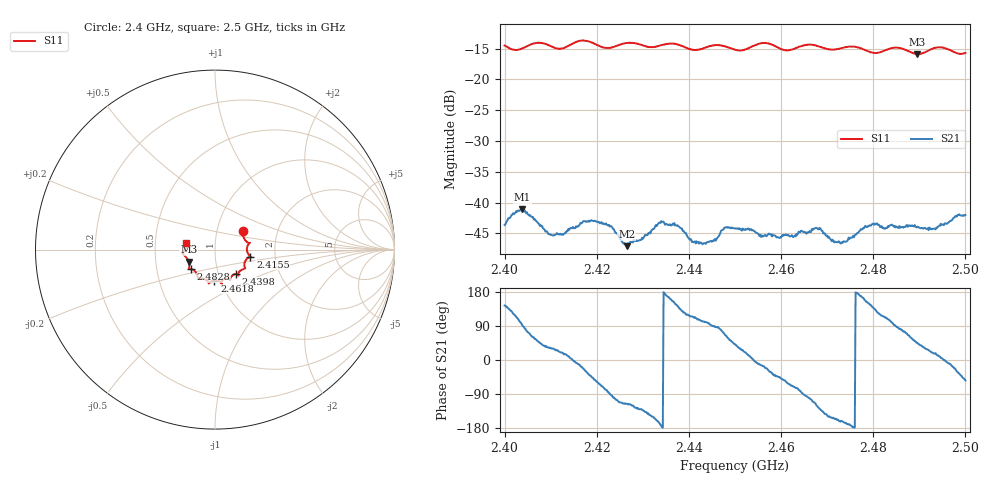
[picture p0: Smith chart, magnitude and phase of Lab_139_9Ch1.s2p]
# Hz S RI R 50
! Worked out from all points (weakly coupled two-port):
!   601 points, 2.4 GHz to 2.5 GHz, reference 50 ohm
!   highest |S21| = -41.08 dB at 2.4038 GHz (marker M1); lowest = -47.1 dB at 2.4265 GHz (marker M2)
!   lowest |S11| = -15.9 dB at 2.4895 GHz (marker M3), VSWR 1.38, Z = 37 - j5.04 ohm
!   |S11| at or under -10 dB: start of sweep to end of sweep
!   S12 and S22 are empty: the file has one direction only
!   S11 on the Smith chart (normalised r, x): 2.4 GHz: 1.33, +0.29; 2.4155 GHz: 1.49, -0.12; 2.4398 GHz: 1.21, -0.34; 2.4618 GHz: 0.94, -0.33; 2.4828 GHz: 0.75, -0.17; 2.5 GHz: 0.72, +0.06
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2.4e9  0.1557 0.1061  -0.00532 0.0039  0 0  0 0
2.403833e9  0.1725 0.0476  -0.000309 0.00882  0 0  0 0
2.41e9  0.1845 0.0271  0.00467 0.00294  0 0  0 0
2.4155e9  0.1977 -0.0389  0.00637 -0.000853  0 0  0 0
2.416667e9  0.2025 -0.0423  0.00645 -0.00213  0 0  0 0
2.4225e9  0.1655 -0.0702  0.000614 -0.00648  0 0  0 0
2.4265e9  0.1686 -0.1032  -0.0019 -0.00401  0 0  0 0
2.433333e9  0.1295 -0.1344  -0.00645 -0.00209  0 0  0 0
2.437333e9  0.1307 -0.1427  -0.00536 0.00371  0 0  0 0
2.439833e9  0.115 -0.136  -0.00252 0.00455  0 0  0 0
2.443333e9  0.0869 -0.1576  -0.00093 0.0046  0 0  0 0
2.45e9  0.065 -0.1617  0.00461 0.00411  0 0  0 0
2.456333e9  0.0392 -0.1939  0.00515 -0.0016  0 0  0 0
2.461833e9  -0.0033 -0.1728  0.00227 -0.00481  0 0  0 0
2.466667e9  -0.0349 -0.1881  -0.00168 -0.00586  0 0  0 0
2.472833e9  -0.0794 -0.1598  -0.00449 -0.0014  0 0  0 0
2.4795e9  -0.1058 -0.1278  -0.00532 0.00374  0 0  0 0
2.482833e9  -0.1357 -0.1086  -0.0023 0.0058  0 0  0 0
2.483333e9  -0.1394 -0.1085  -0.00182 0.00611  0 0  0 0
2.4895e9  -0.1461 -0.0664  0.00438 0.00452  0 0  0 0
2.494167e9  -0.1811 -0.0218  0.0063 0.00124  0 0  0 0
2.5e9  -0.1593 0.039  0.00468 -0.00643  0 0  0 0
